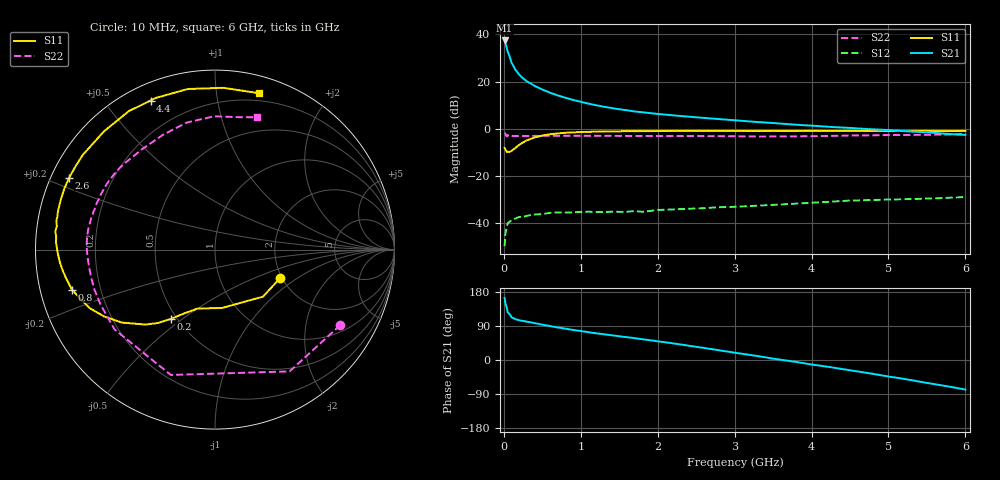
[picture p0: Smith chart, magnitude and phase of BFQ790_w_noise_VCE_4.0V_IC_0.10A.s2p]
! Infineon Technologies  Discrete & RF Semiconductors
! BFQ790
! VCE =  4.0 V,  IC = 0.10 A
! Common Emitter S-Parameters:  May 2015
# GHz  S  MA  R  50
!  f  S11  S21  S12  S22
! GHz  MAG  ANG  MAG  ANG  MAG  ANG  MAG  ANG
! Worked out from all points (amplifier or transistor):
!   77 points, 10 MHz to 6 GHz, reference 50 ohm
!   highest |S21| = 37.4 dB at 10 MHz (marker M1)
!   |S21| within 3 dB of that: start of sweep to 36.35 MHz
!   unconditionally stable (mu >= 1): 247.4 MHz to 506.1 MHz; 1.202 GHz to end of sweep
!   at 130 MHz: K = 0.75, MSG = 32.3 dB, |S12| = -38.2 dB
!   at 2.2 GHz: K = 1.23, MAG = 17.0 dB, |S12| = -34.1 dB
!   at 6 GHz: K = 1.25, MAG = 10.1 dB, |S12| = -28.8 dB
!   lowest NFmin = 2.59 dB at 1.5 GHz
!   S11 on the Smith chart (normalised r, x): 10 MHz: 1.95, -0.74; 200 MHz: 0.46, -0.45; 800 MHz: 0.10, -0.14; 2.6 GHz: 0.05, +0.23; 4.4 GHz: 0.07, +0.65; 6 GHz: 0.14, +1.31
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0.01  0.396 -23.7  74.24 163.7  0.0033 55.9  0.8154 -31.0
0.02  0.3745 -44.4  66.48 149.6  0.006 53.2  0.7958 -58.5
0.05  0.3275 -82.9  43.08 125.6  0.0101 34.8  0.7406 -109.4
0.1  0.3425 -106.4  25.07 112.3  0.0117 21.3  0.7149 -141.5
0.15  0.3964 -116.0  17.81 107.7  0.0127 19.8  0.7074 -154.7
0.2  0.4591 -122.6  14.03 105.0  0.0137 20.3  0.7076 -161.7
0.25  0.5187 -127.9  11.73 103.1  0.0137 17.2  0.707 -166.4
0.3  0.5712 -133.0  10.12 101.1  0.0145 15.5  0.7074 -169.8
0.4  0.6591 -141.9  8.11 97.1  0.0155 13.9  0.7098 -174.7
0.5  0.7216 -148.9  6.774 93.2  0.0157 11.7  0.7122 -178.2
0.6  0.7698 -154.9  5.837 89.6  0.0167 9.8  0.7151 178.9
0.7  0.7999 -160.2  5.103 85.9  0.0171 8.3  0.7157 176.5
0.8  0.8276 -164.4  4.56 82.6  0.0171 4.8  0.7153 174.6
1.1  0.8666 -175.2  3.423 73.4  0.0177 3.6  0.7147 169.4
1.5  0.8877 175.4  2.604 62.7  0.0176 4.0  0.7093 163.9
2.1  0.9015 164.1  2 46.7  0.0195 2.6  0.706 155.5
2.6  0.9062 153.7  1.708 31.8  0.021 -0.6  0.7042 146.3
3.1  0.9029 142.1  1.477 16.4  0.0229 -6.7  0.6942 135.2
4.1  0.9058 119.8  1.141 -14.7  0.0279 -17.9  0.7045 111.9
4.4  0.9048 113.4  1.067 -23.9  0.0298 -22.2  0.7182 104.8
5.1  0.9031 97.1  0.92 -46.6  0.0322 -35.0  0.742 88.3
6  0.9053 74.2  0.746 -78.2  0.0362 -53.9  0.7736 72.3
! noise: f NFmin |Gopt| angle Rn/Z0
0.45  3.96  0.39  132  0.4
0.9  2.84  0.53  163  0.14
1.5  2.59  0.65  -175  0.07
1.8  2.71  0.67  -170  0.08
2.6  3.14  0.72  -153  0.2
3.5  3.78  0.82  -136  0.49
